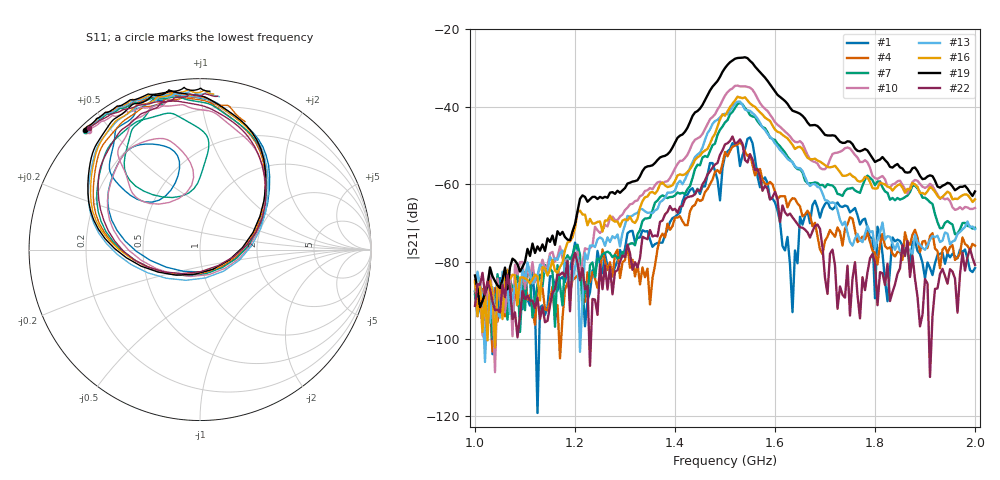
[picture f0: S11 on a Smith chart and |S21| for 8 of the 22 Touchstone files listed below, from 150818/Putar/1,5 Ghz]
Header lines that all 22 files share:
# Hz S RI R 50
! CMT, C1220, 16058040, 17.2.0/1
! Data: Format (Calibration Info)
! Freq  S11: Re/Im (F2)  S21: Re/Im (F2)  S12: Re/Im (F2)  S22: Re/Im (F2)
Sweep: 1 GHz to 2 GHz
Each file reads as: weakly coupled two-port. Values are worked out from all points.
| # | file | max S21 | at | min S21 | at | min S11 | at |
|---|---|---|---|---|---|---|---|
| 1 | Sudut_0_Transmit_0.s2p | -47.93 dB | 1.55 GHz | -119.1 dB | 1.125 GHz | -17.7 dB | 1.535 GHz |
| 2 | Sudut_10_Transmit_0.s2p | -49.68 dB | 1.545 GHz | -103.5 dB | 1.225 GHz | -18.1 dB | 1.535 GHz |
| 3 | Sudut_20_Transmit_0.s2p | -49.56 dB | 1.53 GHz | -100.8 dB | 1.09 GHz | -16.8 dB | 1.535 GHz |
| 4 | Sudut_30_Transmit_0.s2p | -49.23 dB | 1.53 GHz | -105.0 dB | 1.17 GHz | -17.1 dB | 1.535 GHz |
| 5 | Sudut_40_Transmit_0.s2p | -48.38 dB | 1.495 GHz | -114.0 dB | 1.035 GHz | -16.9 dB | 1.535 GHz |
| 6 | Sudut_50_Transmit_0.s2p | -43.65 dB | 1.53 GHz | -95.2 dB | 1.225 GHz | -16.0 dB | 1.535 GHz |
| 7 | Sudut_60_Transmit_0.s2p | -39.07 dB | 1.53 GHz | -100.0 dB | 1.035 GHz | -16.7 dB | 1.535 GHz |
| 8 | Sudut_70_Transmit_0.s2p | -37.32 dB | 1.525 GHz | -99.1 dB | 1.12 GHz | -16.7 dB | 1.535 GHz |
| 9 | Sudut_80_Transmit_0.s2p | -35.29 dB | 1.525 GHz | -93.2 dB | 1 GHz | -17.0 dB | 1.535 GHz |
| 10 | Sudut_90_Transmit_0.s2p | -34.55 dB | 1.525 GHz | -108.6 dB | 1.04 GHz | -16.2 dB | 1.535 GHz |
| 11 | Sudut_100_Transmit_0.s2p | -34.30 dB | 1.54 GHz | -110.0 dB | 1 GHz | -15.9 dB | 1.535 GHz |
| 12 | Sudut_110_Transmit_0.s2p | -35.01 dB | 1.53 GHz | -110.5 dB | 1.21 GHz | -15.6 dB | 1.535 GHz |
| 13 | Sudut_120_Transmit_0.s2p | -38.70 dB | 1.53 GHz | -105.9 dB | 1.02 GHz | -15.4 dB | 1.535 GHz |
| 14 | Sudut_130_Transmit_0.s2p | -43.14 dB | 1.525 GHz | -98.1 dB | 1.03 GHz | -16.1 dB | 1.535 GHz |
| 15 | Sudut_140_Transmit_0.s2p | -47.12 dB | 1.525 GHz | -106.2 dB | 1.42 GHz | -17.3 dB | 1.535 GHz |
| 16 | Sudut_150_Transmit_0.s2p | -37.41 dB | 1.525 GHz | -102.2 dB | 1.04 GHz | -16.9 dB | 1.535 GHz |
| 17 | Sudut_160_Transmit_0.s2p | -32.10 dB | 1.54 GHz | -100.0 dB | 1.05 GHz | -17.2 dB | 1.53 GHz |
| 18 | Sudut_170_Transmit_0.s2p | -29.62 dB | 1.53 GHz | -111.1 dB | 1.01 GHz | -17.2 dB | 1.53 GHz |
| 19 | Sudut_180_Transmit_0.s2p | -27.22 dB | 1.54 GHz | -91.8 dB | 1.01 GHz | -17.2 dB | 1.53 GHz |
| 20 | Sudut_330_Transmit_0.s2p | -43.96 dB | 1.52 GHz | -106.5 dB | 1.135 GHz | -16.8 dB | 1.535 GHz |
| 21 | Sudut_340_Transmit_0.s2p | -46.13 dB | 1.525 GHz | -100.1 dB | 1.06 GHz | -16.7 dB | 1.535 GHz |
| 22 | Sudut_350_Transmit_0.s2p | -47.70 dB | 1.515 GHz | -109.8 dB | 1.91 GHz | -17.8 dB | 1.535 GHz |
